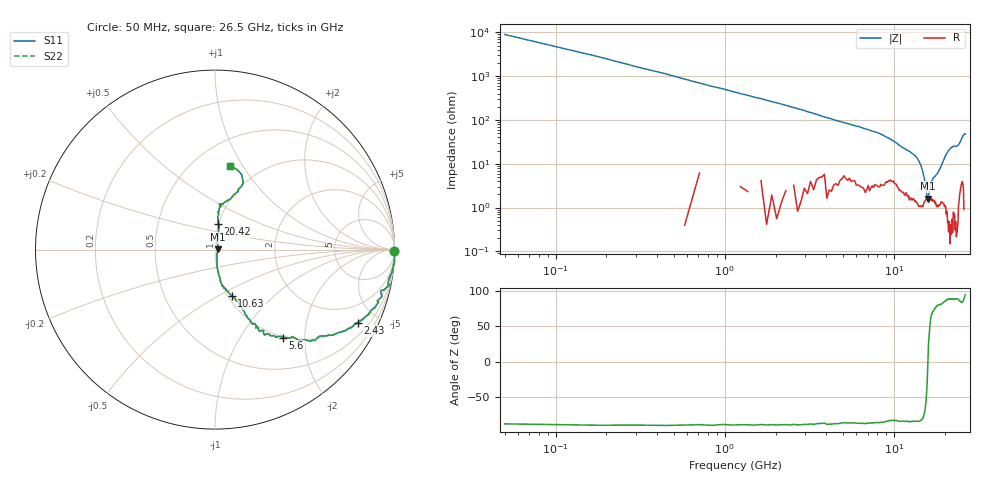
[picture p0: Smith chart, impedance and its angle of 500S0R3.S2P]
!  American Technical Ceramics  Date:  3/6/98
!  One Norden Lane
!  Huntington Station,  NY.  11746-2102
!  Tel:  (516) 547-5700  Fax:  (516) 547-5748
!  Part Number  500S0R3
!  Description: Broadband Microwave capacitor
!  Application:
# GHZ S DB R 50
! Freq  |S11|  S11 Ph  |S21|  S21 Ph  |S12|  S12 Ph  |S22|  S22 Ph
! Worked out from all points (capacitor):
!   201 points, 50 MHz to 26.5 GHz, reference 50 ohm
!   read as one part in series: C = 318 fF near 180 MHz
!   lowest |Z| = 1.61 ohm at 15.92 GHz (marker M1)
!   series resonance near 15.91 GHz, so ESL is about 310 pH
!   S11 on the Smith chart (normalised r, x): 50 MHz: open; 2.43 GHz: 0.97, -3.91; 5.6 GHz: 0.99, -1.57; 10.63 GHz: 1.04, -0.58; 20.42 GHz: 1.00, +0.29; 26.5 GHz: 0.73, +0.88
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0.05  -0.02 -0.6  -39.09 87.7  -39.09 87.7  -0.02 -0.6
0.18  0.01 -2.2  -28.87 88.1  -28.87 88.1  0.01 -2.2
0.31  0.02 -3.7  -24.07 86.4  -24.07 86.4  0.02 -3.7
0.58  -0.05 -7.2  -18.74 82.8  -18.74 82.8  -0.05 -7.2
1.37  -0.30 -15.8  -11.58 73.8  -11.58 73.8  -0.30 -15.8
2.43  -0.98 -27.2  -7.21 62.9  -7.21 62.9  -0.98 -27.2
4.55  -3.08 -46.1  -3.11 41.5  -3.11 41.5  -3.08 -46.1
5.6  -4.15 -52.2  -2.35 34.6  -2.35 34.6  -4.15 -52.2
8.91  -8.17 -64.7  -1.05 20.8  -1.05 20.8  -8.17 -64.7
10.63  -11.25 -69.9  -0.55 14.1  -0.55 14.1  -11.25 -69.9
13.28  -14.53 -79.8  -0.29 6.5  -0.29 6.5  -14.53 -79.8
14.73  -20.90 -82.1  -0.16 3.0  -0.16 3.0  -20.90 -82.1
15.26  -26.26 -76.4  -0.16 1.6  -0.16 1.6  -26.26 -76.4
15.92  -36.73 2.5  -0.15 -0.0  -0.15 -0.0  -36.73 2.5
16.85  -26.85 68.9  -0.15 -1.9  -0.15 -1.9  -26.85 68.9
17.77  -27.50 76.7  -0.15 -3.8  -0.15 -3.8  -27.50 76.7
18.83  -26.61 77.2  -0.17 -6.3  -0.17 -6.3  -26.61 77.2
20.42  -16.96 82.8  -0.29 -10.4  -0.29 -10.4  -16.96 82.8
22.14  -12.25 82.3  -0.61 -13.2  -0.61 -13.2  -12.25 82.3
24.25  -11.76 80.0  -0.81 -15.7  -0.81 -15.7  -11.76 80.0
25.71  -7.74 67.4  -1.32 -21.3  -1.32 -21.3  -7.74 67.4
26.5  -6.47 79.8  -1.68 -23.3  -1.68 -23.3  -6.47 79.8
